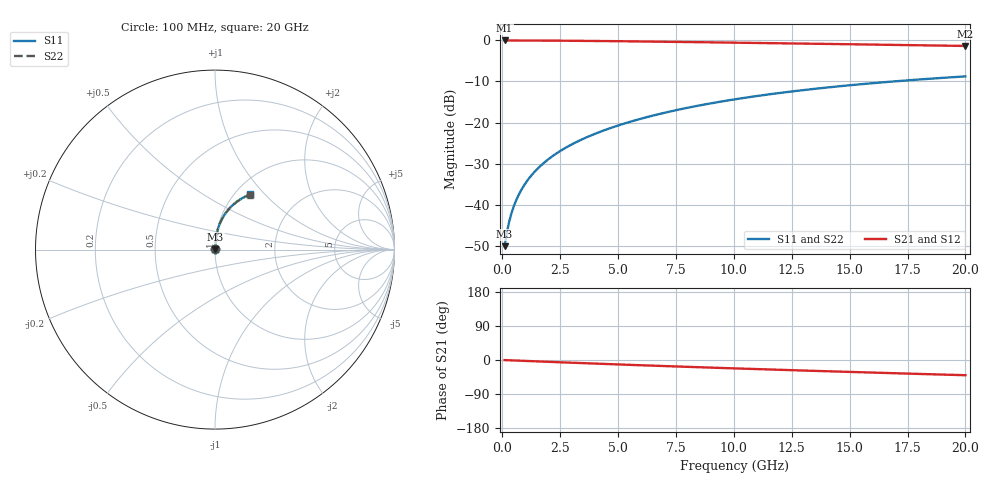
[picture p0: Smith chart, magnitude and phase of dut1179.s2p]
! Touchstone file exported from HFSS 2024.1.0
!  File:  C:/UserFiles/LocalFiles/RDL_TSV_Batchsim/temp_RDL_top_1179_1780049173.aedt
!  Generated:  06:08:17 PM May 29, 2026
!  Design:  RDL_top
!  Project:  temp_RDL_top_1179_1780049173
!  Setup:  Setup1
!  Solution:  Sweep
! Variables:
!  dtsv = 10.80580581um
!  hbump = 3um
!  htsv = 65.57um
!  ldown = 100um
!  lrdl = 571.11um
!  p = 40
!  p1 = 49.49um
!  rhole = 1um
!  t = 450um
!  tdown = 3.915915916um
!  trdl = 4.23um
!  wdown = 15.38538539um
!  wrdl = 20.88um
# GHz S MA R 50.000000
! Terminal data exported
! Port[1] = Box2_T1
! Port[2] = Box2_T2
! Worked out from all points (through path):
!   200 points, 100 MHz to 20 GHz, reference 50 ohm
!   highest |S21| = -0.02 dB at 100 MHz (marker M1); lowest = -1.4 dB at 20 GHz (marker M2)
!   group delay of S21, straight-line fit = 5.53 ps
!   lowest |S11| = -50.0 dB at 100 MHz (marker M3), VSWR 1.01, Z = 50.2 + j0.197 ohm
!   |S11| at or under -10 dB: start of sweep to 16.87 GHz
!   |S22| runs from -50.0 to -8.8 dB; largest |S21 - S12| = 2.6e-15
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0.1  0.003147 38.6  0.9975 -0.3  0.9975 -0.3  0.003147 38.6
! Gamma 0 0 0 0
! Port Impedance 50 0 50 0
0.2  0.004648 56.2  0.9974 -0.5  0.9974 -0.5  0.004648 56.2
0.3  0.006306 64.4  0.9972 -0.7  0.9972 -0.7  0.006306 64.4
0.4  0.00799 69.1  0.997 -1.0  0.997 -1.0  0.00799 69.1
0.5  0.009682 72.3  0.9969 -1.2  0.9969 -1.2  0.009683 72.3
0.6  0.01138 74.6  0.9967 -1.5  0.9967 -1.5  0.01138 74.6
0.8  0.01482 77.7  0.9964 -2.0  0.9964 -2.0  0.01482 77.7
1.1  0.02004 80.4  0.9958 -2.7  0.9958 -2.7  0.02004 80.4
1.5  0.02711 82.3  0.9948 -3.6  0.9948 -3.6  0.02711 82.3
1.8  0.03247 83.2  0.9939 -4.4  0.9939 -4.4  0.03246 83.1
2.1  0.03787 83.7  0.9929 -5.1  0.9929 -5.1  0.03786 83.7
2.7  0.0488 84.2  0.9904 -6.5  0.9904 -6.5  0.04879 84.2
3.5  0.06364 84.2  0.9863 -8.3  0.9863 -8.3  0.06362 84.2
4.2  0.07687 83.9  0.9822 -9.9  0.9822 -9.9  0.07685 83.9
5  0.09225 83.2  0.9769 -11.7  0.9769 -11.7  0.09222 83.2
6.8  0.1276 81.0  0.9639 -15.6  0.9639 -15.6  0.1276 81.0
8.4  0.1595 78.5  0.9514 -18.9  0.9514 -18.9  0.1594 78.5
10.1  0.1931 75.6  0.9377 -22.3  0.9377 -22.3  0.193 75.5
11.7  0.2241 72.6  0.9245 -25.4  0.9245 -25.4  0.2239 72.6
13.4  0.256 69.4  0.9104 -28.6  0.9104 -28.6  0.2557 69.4
16.7  0.3135 63.3  0.8829 -34.5  0.8829 -34.5  0.3132 63.2
20  0.3648 57.4  0.8554 -40.1  0.8554 -40.1  0.3644 57.4
